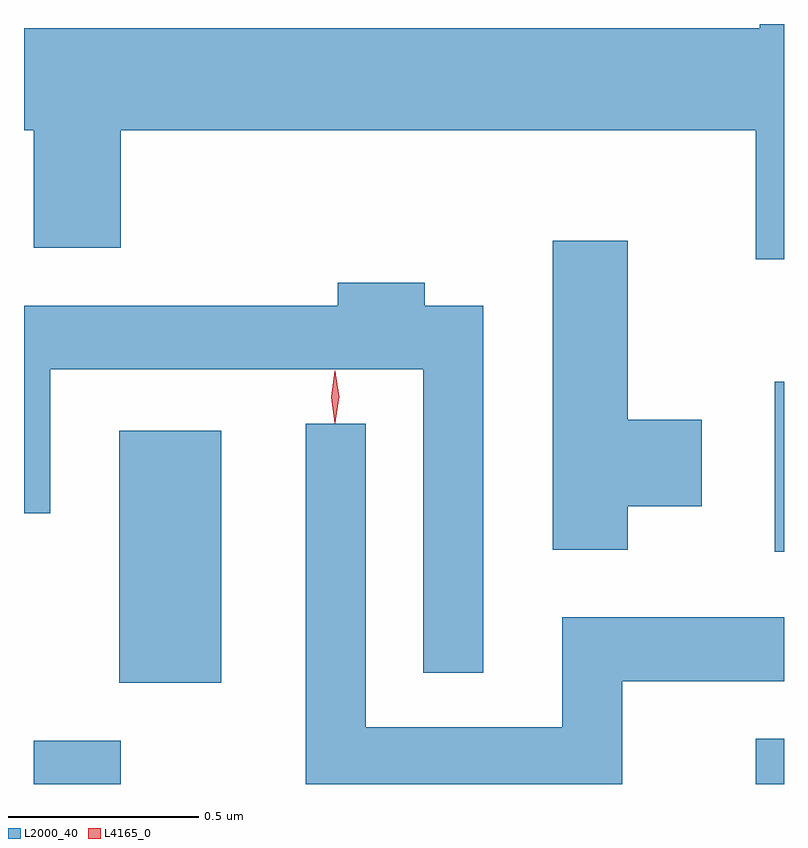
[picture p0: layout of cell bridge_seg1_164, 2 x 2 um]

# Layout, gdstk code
import gdstk
lib = gdstk.Library(unit=1e-6, precision=1e-09)
def R(c, l, rs):  # rectangles x0, y0, x1, y1
    for r in rs: c.add(gdstk.rectangle(r[:2], r[2:], *l))
def P(c, l, *ps):  # polygons
    for p in ps: c.add(gdstk.Polygon(p, *l))
L2000_40 = (2000, 40)
L4165_0 = (4165, 0)

bridge_seg1_164 = lib.new_cell('bridge_seg1_164')
R(bridge_seg1_164, L2000_40, [(765.971,942.255,766.199,942.369), (767.871,942.255,767.945,942.374), (766.196,942.521,766.464,943.184), (767.921,942.866,767.945,943.314)])
P(bridge_seg1_164, L2000_40, [(767.945,944.255),(767.881,944.255),(767.881,944.244),(765.945,944.244),(765.945,943.976),(765.971,943.976),(765.971,943.666),(766.199,943.666),(766.199,943.976),(767.871,943.976),(767.871,943.636),(767.945,943.636)],
  [(767.534,942.986),(767.729,942.986),(767.729,943.214),(767.534,943.214),(767.534,943.684),(767.336,943.684),(767.336,942.871),(767.534,942.871)],
  [(767.154,943.514),(766.999,943.514),(766.999,943.574),(766.771,943.574),(766.771,943.514),(765.945,943.514),(765.945,942.968),(766.014,942.968),(766.014,943.346),(766.996,943.346),(766.996,942.548),(767.154,942.548)],
  [(767.519,942.526),(767.945,942.526),(767.945,942.694),(767.361,942.694),(767.361,942.404),(766.844,942.404),(766.844,943.203),(766.686,943.203),(766.686,942.255),(767.519,942.255)])
P(bridge_seg1_164, L4165_0, [(766.763,943.204),(766.763,943.204),(766.753,943.273),(766.763,943.342),(766.763,943.343),(766.764,943.342),(766.773,943.273),(766.764,943.204)],
  [(766.763,943.207),(766.754,943.274),(766.763,943.34),(766.764,943.34),(766.764,943.34),(766.774,943.274),(766.764,943.207),(766.764,943.207)])

lib.write_gds('bridge_seg1_164.gds')
